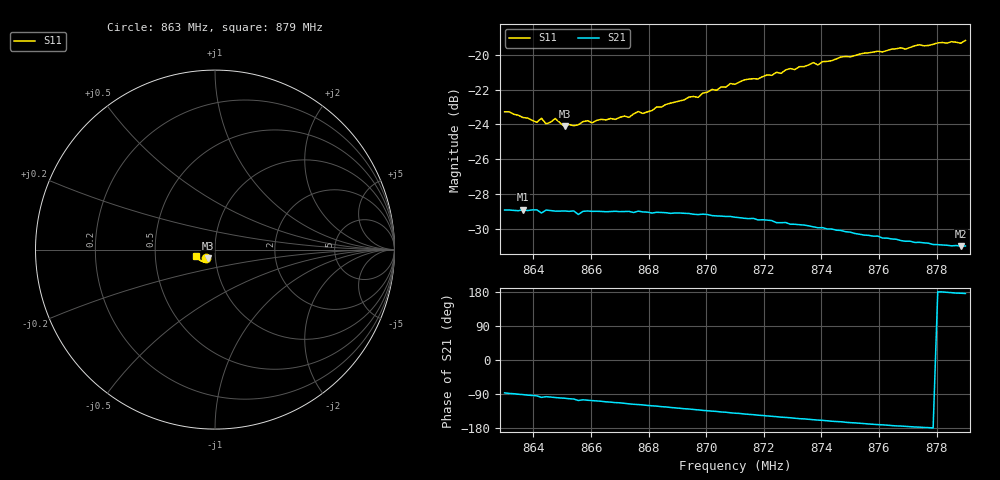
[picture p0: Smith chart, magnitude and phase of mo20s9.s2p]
# HZ S RI R 50
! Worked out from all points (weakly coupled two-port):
!   101 points, 863 MHz to 879 MHz, reference 50 ohm
!   highest |S21| = -28.89 dB at 863.64 MHz (marker M1); lowest = -31.0 dB at 878.84 MHz (marker M2)
!   lowest |S11| = -24.1 dB at 865.08 MHz (marker M3), VSWR 1.13, Z = 46.1 - j4.53 ohm
!   |S11| at or under -10 dB: start of sweep to end of sweep
!   S12 and S22 are empty: the file has one direction only
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8.63e8  -0.048 -0.049  0.00207 -0.0358  0 0  0 0
8.6364e8  -0.0454 -0.048  -0.000787 -0.0359  0 0  0 0
8.6412e8  -0.0431 -0.0474  -0.0029 -0.0358  0 0  0 0
8.6428e8  -0.0424 -0.0502  -0.00528 -0.0347  0 0  0 0
8.6444e8  -0.041 -0.0483  -0.0042 -0.0356  0 0  0 0
8.6476e8  -0.0416 -0.0507  -0.00563 -0.0351  0 0  0 0
8.6508e8  -0.0385 -0.0489  -0.00667 -0.035  0 0  0 0
8.654e8  -0.0372 -0.0503  -0.008 -0.0347  0 0  0 0
8.6556e8  -0.0382 -0.05  -0.0101 -0.0333  0 0  0 0
8.6572e8  -0.0375 -0.0522  -0.00919 -0.0343  0 0  0 0
8.6732e8  -0.0362 -0.0553  -0.0154 -0.032  0 0  0 0
8.6764e8  -0.0368 -0.058  -0.0165 -0.0315  0 0  0 0
8.678e8  -0.0374 -0.0566  -0.0169 -0.0311  0 0  0 0
8.6844e8  -0.0379 -0.0598  -0.0193 -0.0295  0 0  0 0
8.71e8  -0.0482 -0.0667  -0.0263 -0.0218  0 0  0 0
8.7372e8  -0.066 -0.0683  -0.0297 -0.0122  0 0  0 0
8.7388e8  -0.0659 -0.0663  -0.0297 -0.0116  0 0  0 0
8.7468e8  -0.0745 -0.0645  -0.0299 -0.00917  0 0  0 0
8.7644e8  -0.0869 -0.0568  -0.0294 -0.00361  0 0  0 0
8.7852e8  -0.1008 -0.0417  -0.0283 0.00114  0 0  0 0
8.7884e8  -0.1015 -0.0367  -0.0282 0.00184  0 0  0 0
8.79e8  -0.1043 -0.0349  -0.0282 0.0022  0 0  0 0
